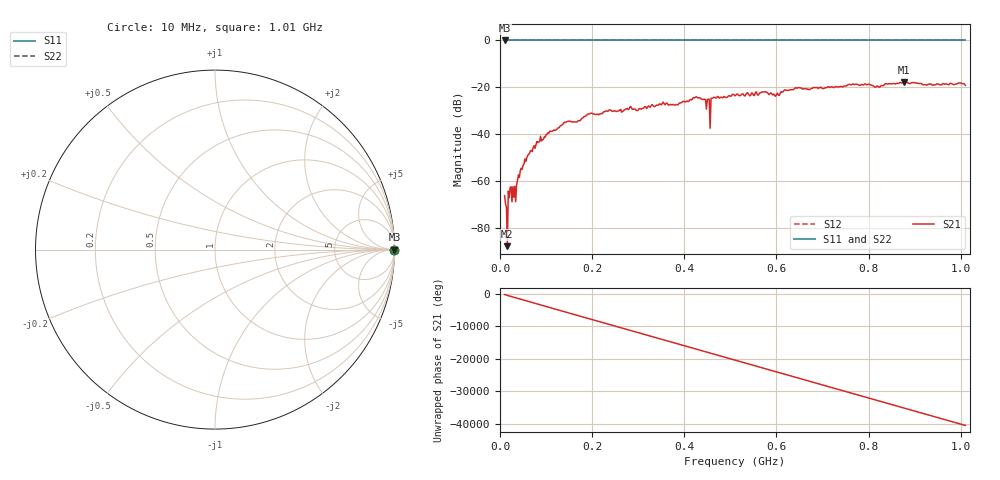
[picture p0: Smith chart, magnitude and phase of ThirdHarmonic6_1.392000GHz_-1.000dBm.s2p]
! 8/16/2025 3:52:30 PM
! C:\ANRITSUVNA\TEMP\TEMP.S2P
! CHANNEL.1
! TR.MEASUREMENT
! RAW.DATA
! RF.CORRECTION.OFF
! AVERAGING.OFF
! IF.BANDWIDTH: 5KHZ
! SWEEPTYPE:  FREQ.SWEEP(Linear)
! Reference Plane Port Info
! PORT:  PORT1  PORT2
! DISTANCE:  0  m  0  m
! TIME:  0  s  0  s
! PHASE.OFFSET:  0  deg.  0  deg.
! LOSS:  0  dB  0  dB
! REF.LOSS:  0  dB  0  dB
! REF.FREQ:  0  Hz  0  Hz
! Power Info
! POWER:  -20  dBm  -20  dBm
! EFF.POWER:  -20  dBm  -20  dBm
! SOURCE.ATTEN:  0  dB  0  dB
! TEST.ATTEN:  0  dB  0  dB
# GHZ S RI R 50.0
! FREQ.GHZ  S11RE  S11IM  S21RE  S21IM  S12RE  S12IM  S22RE  S22IM
!; PortSelection: Port_12
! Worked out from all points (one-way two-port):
!   501 points, 10 MHz to 1.01 GHz, reference 50 ohm
!   highest |S21| = -17.72 dB at 876 MHz (marker M1); lowest = -87.9 dB at 16 MHz (marker M2)
!   lowest |S11| = 0.0 dB at 10 MHz (marker M3)
!   |S11| at or under -10 dB: nowhere
!   |S22| runs from 0.0 to 0.0 dB; largest |S21 - S12| = 1.1
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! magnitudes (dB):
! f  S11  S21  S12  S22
! 10 MHz  0.0  -66.3  0.0  0.0
! 12 MHz  0.0  -69.8  0.0  0.0
! 16 MHz  0.0  -87.9  0.0  0.0
! 22 MHz  0.0  -62.9  0.0  0.0
! 30 MHz  0.0  -67.0  0.0  0.0
! 34 MHz  0.0  -68.9  0.0  0.0
! 50 MHz  0.0  -53.4  0.0  0.0
! 84 MHz  0.0  -43.4  0.0  0.0
! 142 MHz  0.0  -35.1  0.0  0.0
! 178 MHz  0.0  -33.3  0.0  0.0
! 344 MHz  0.0  -27.5  0.0  0.0
! 428 MHz  0.0  -24.4  0.0  0.0
! 450 MHz  0.0  -25.2  0.0  0.0
! 452 MHz  0.0  -25.2  0.0  0.0
! 460 MHz  0.0  -24.7  0.0  0.0
! 462 MHz  0.0  -24.6  0.0  0.0
! 510 MHz  0.0  -23.6  0.0  0.0
! 602 MHz  0.0  -22.5  0.0  0.0
! 678 MHz  0.0  -20.4  0.0  0.0
! 844 MHz  0.0  -18.5  0.0  0.0
! 876 MHz  0.0  -17.7  0.0  0.0
! 1.01 GHz  0.0  -19.2  0.0  0.0
